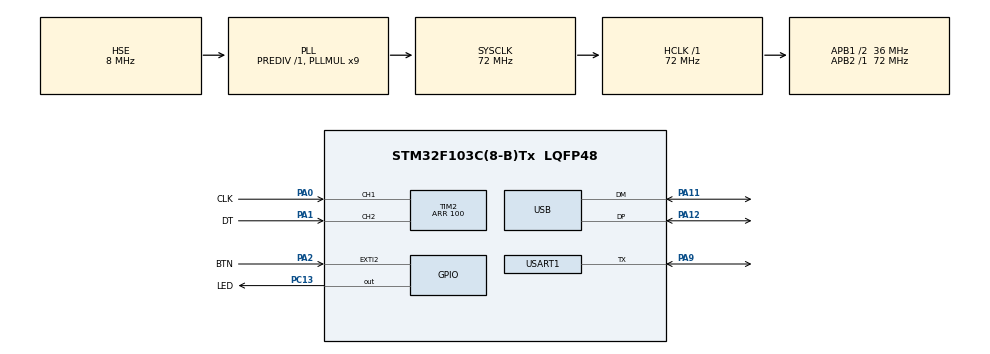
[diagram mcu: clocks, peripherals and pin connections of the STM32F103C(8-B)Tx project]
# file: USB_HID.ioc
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IWDG.Prescaler=IWDG_PRESCALER_32
IWDG.Reload=1000
Mcu.Family=STM32F1
Mcu.Name=STM32F103C(8-B)Tx
Mcu.Package=LQFP48
NVIC.EXTI2_IRQn=true\:0\:0\:false\:false\:true\:true\:true
NVIC.PriorityGroup=NVIC_PRIORITYGROUP_4
NVIC.TIM2_IRQn=true\:0\:0\:false\:false\:true\:true\:true
NVIC.USART1_IRQn=true\:0\:0\:false\:false\:true\:true\:true
NVIC.USB_HP_CAN1_TX_IRQn=true\:0\:0\:false\:false\:true\:true\:true
NVIC.USB_LP_CAN1_RX0_IRQn=true\:0\:0\:false\:false\:true\:false\:true
PA0-WKUP.GPIO_Label=CLK
PA0-WKUP.GPIO_PuPd=GPIO_PULLUP
PA0-WKUP.Signal=S_TIM2_CH1_ETR
PA1.GPIO_Label=DT
PA1.GPIO_PuPd=GPIO_PULLUP
PA1.Signal=S_TIM2_CH2
PA11.Mode=Device
PA11.Signal=USB_DM
PA12.Mode=Device
PA12.Signal=USB_DP
PA13.Mode=Serial_Wire
PA13.Signal=SYS_JTMS-SWDIO
PA14.Mode=Serial_Wire
PA14.Signal=SYS_JTCK-SWCLK
PA2.GPIO_Label=BTN
PA2.Signal=GPXTI2
PA9.Mode=Half_duplex(single_wire_mode)
PA9.Signal=USART1_TX
PC13-TAMPER-RTC.GPIO_Label=LED
PC13-TAMPER-RTC.GPIO_Speed=GPIO_SPEED_FREQ_MEDIUM
PC13-TAMPER-RTC.Signal=GPIO_Output
PD0-OSC_IN.Mode=HSE-External-Oscillator
PD0-OSC_IN.Signal=RCC_OSC_IN
PD1-OSC_OUT.Mode=HSE-External-Oscillator
PD1-OSC_OUT.Signal=RCC_OSC_OUT
ProjectManager.HeapSize=0x200
ProjectManager.StackSize=0x400
ProjectManager.TargetToolchain=STM32CubeIDE
RCC.AHBFreq_Value=72000000
RCC.APB1CLKDivider=RCC_HCLK_DIV2
RCC.APB1Freq_Value=36000000
RCC.APB1TimFreq_Value=72000000
RCC.APB2Freq_Value=72000000
RCC.APB2TimFreq_Value=72000000
RCC.HCLKFreq_Value=72000000
RCC.PLLMUL=RCC_PLL_MUL9
RCC.PLLSourceVirtual=RCC_PLLSOURCE_HSE
RCC.SYSCLKFreq_VALUE=72000000
RCC.SYSCLKSource=RCC_SYSCLKSOURCE_PLLCLK
RCC.USBFreq_Value=48000000
RCC.USBPrescaler=RCC_USBCLKSOURCE_PLL_DIV1_5
SH.S_TIM2_CH1_ETR.0=TIM2_CH1,Encoder_Interface
SH.S_TIM2_CH2.0=TIM2_CH2,Encoder_Interface
TIM2.EncoderMode=TIM_ENCODERMODE_TI12
TIM2.IC1Filter=10
TIM2.IC2Filter=10
TIM2.Period=100
TIM2.TIM_MasterOutputTrigger=TIM_TRGO_RESET
USART1.VirtualMode=VM_ASYNC
USB_DEVICE.CLASS_NAME_FS=HID
USB_DEVICE.MANUFACTURER_STRING=Ilya Mordasov
USB_DEVICE.PRODUCT_STRING_HID_FS=USB HID MANIPULATOR
USB_DEVICE.USBD_DEBUG_LEVEL=0
USB_DEVICE.USBD_MAX_NUM_CONFIGURATION=2
USB_DEVICE.USBD_MAX_NUM_INTERFACES=2
USB_DEVICE.VirtualMode=Hid
USB_DEVICE.VirtualModeFS=Hid_FS
VP_IWDG_VS_IWDG.Mode=IWDG_Activate
VP_USB_DEVICE_VS_USB_DEVICE_HID_FS.Mode=HID_FS
board=custom

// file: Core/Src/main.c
/* USER CODE BEGIN Header */
/**
  ******************************************************************************
  * @file           : main.c
  * @brief          : Main program body
  ******************************************************************************
  * @attention
  *
  * <h2><center>&copy; Copyright (c) 2020 STMicroelectronics.
  * All rights reserved.</center></h2>
  *
  * This software component is licensed by ST under BSD 3-Clause license,
  * the "License"; You may not use this file except in compliance with the
  * License. You may obtain a copy of the License at:
  *                        opensource.org/licenses/BSD-3-Clause
  *
  ******************************************************************************
  */
/* USER CODE END Header */
#include "main.h"
#include "iwdg.h"
#include "tim.h"
#include "usart.h"
#include "usb_device.h"
#include "gpio.h"

/* USER CODE BEGIN Includes */
#include "keycodes.h"
#include "USB_cmds.h"
/* USER CODE END Includes */

/* USER CODE BEGIN PTD */
uint8_t STATE = Vertical_Scroll_STATE;
/* USER CODE END PTD */

/* USER CODE BEGIN PV */
RE_t RE_data;
/* USER CODE END PV */

void SystemClock_Config(void);

int main(void)
{
  /* USER CODE BEGIN 1 */
	RE_data.RE_Count = 0;
	RE_data.Diff = 0;
	RE_data.Absolute = 0;
	RE_data.LastA = 1;
  /* USER CODE END 1 */

  /* MCU Configuration--------------------------------------------------------*/

  /* Reset of all peripherals, Initializes the Flash interface and the Systick. */
  HAL_Init();

  /* Configure the system clock */
  SystemClock_Config();

  /* Initialize all configured peripherals */
  MX_GPIO_Init();
  MX_IWDG_Init();
  MX_TIM2_Init();
  MX_USB_DEVICE_Init();
  MX_USART1_UART_Init();
  /* USER CODE BEGIN 2 */
  HAL_TIM_Encoder_Start_IT(&htim2, TIM_ENCODERMODE_TI2);
  //MX_USB_Send_Notification(6);
  printf("Hello from STM32\r\n");
  /* USER CODE END 2 */

  /* Infinite loop */
  while (1)
  {

    /* USER CODE BEGIN 3 */
	  HAL_IWDG_Refresh(&hiwdg);
	  HAL_Delay(100);
  }
  /* USER CODE END 3 */
}

void SystemClock_Config(void)
{
  RCC_OscInitTypeDef RCC_OscInitStruct = {0};
  RCC_ClkInitTypeDef RCC_ClkInitStruct = {0};
  RCC_PeriphCLKInitTypeDef PeriphClkInit = {0};

  /** Initializes the RCC Oscillators according to the specified parameters
  * in the RCC_OscInitTypeDef structure.
  */
  RCC_OscInitStruct.OscillatorType = RCC_OSCILLATORTYPE_LSI|RCC_OSCILLATORTYPE_HSE;
  RCC_OscInitStruct.HSEState = RCC_HSE_ON;
  RCC_OscInitStruct.HSEPredivValue = RCC_HSE_PREDIV_DIV1;
  RCC_OscInitStruct.HSIState = RCC_HSI_ON;
  RCC_OscInitStruct.LSIState = RCC_LSI_ON;
  RCC_OscInitStruct.PLL.PLLState = RCC_PLL_ON;
  RCC_OscInitStruct.PLL.PLLSource = RCC_PLLSOURCE_HSE;
  RCC_OscInitStruct.PLL.PLLMUL = RCC_PLL_MUL9;
  if (HAL_RCC_OscConfig(&RCC_OscInitStruct) != HAL_OK)
  {
    Error_Handler();
  }
  /** Initializes the CPU, AHB and APB buses clocks
  */
  RCC_ClkInitStruct.ClockType = RCC_CLOCKTYPE_HCLK|RCC_CLOCKTYPE_SYSCLK
                              |RCC_CLOCKTYPE_PCLK1|RCC_CLOCKTYPE_PCLK2;
  RCC_ClkInitStruct.SYSCLKSource = RCC_SYSCLKSOURCE_PLLCLK;
  RCC_ClkInitStruct.AHBCLKDivider = RCC_SYSCLK_DIV1;
  RCC_ClkInitStruct.APB1CLKDivider = RCC_HCLK_DIV2;
  RCC_ClkInitStruct.APB2CLKDivider = RCC_HCLK_DIV1;

  if (HAL_RCC_ClockConfig(&RCC_ClkInitStruct, FLASH_LATENCY_2) != HAL_OK)
  {
    Error_Handler();
  }
  PeriphClkInit.PeriphClockSelection = RCC_PERIPHCLK_USB;
  PeriphClkInit.UsbClockSelection = RCC_USBCLKSOURCE_PLL_DIV1_5;
  if (HAL_RCCEx_PeriphCLKConfig(&PeriphClkInit) != HAL_OK)
  {
    Error_Handler();
  }
}

/* USER CODE BEGIN 4 */
void HAL_GPIO_EXTI_Callback(uint16_t GPIO_Pin) {
//	Keyboard.L_SHIFT = USB_HIDDEVICE_Button_Pressed;
//	Keyboard.Key1 = KEY_I;
//	Keyboard.Key2 = KEY_L;
//	Keyboard.Key3 = KEY_Y;
//	Keyboard.Key4 = KEY_A;
	STATE++;
	if (STATE > STATE_COUNT)
		STATE = Vertical_Scroll_STATE;
}
/* USER CODE END 4 */

void Error_Handler(void)
{
}

/************************ (C) COPYRIGHT STMicroelectronics *****END OF FILE****/
